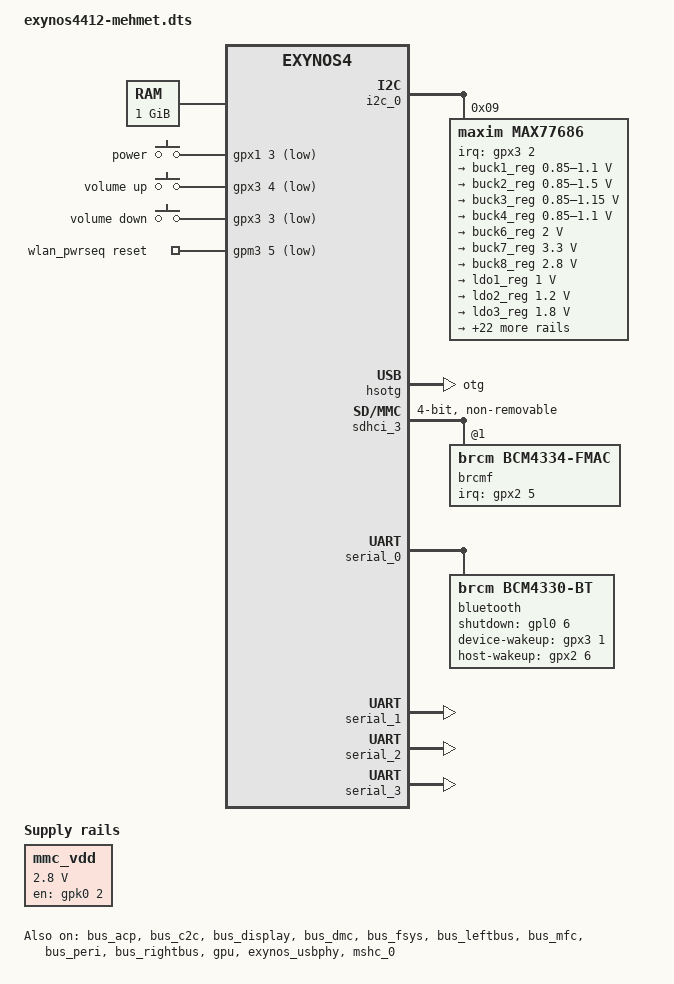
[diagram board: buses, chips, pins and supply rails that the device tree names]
// SPDX-License-Identifier: GPL-2.0
/*
 * Samsung's Exynos4212 based Galaxy Tab 3 board common source
 *
 * Copyright (c) 2013 Samsung Electronics Co., Ltd.
 *		http://www.samsung.com
 */

/dts-v1/;
#include "exynos4412.dtsi"
#include "exynos4412-ppmu-common.dtsi"
#include "exynos-mfc-reserved-memory.dtsi"
#include <dt-bindings/gpio/gpio.h>
#include <dt-bindings/leds/common.h>
#include <dt-bindings/input/gpio-keys.h>
#include <dt-bindings/input/input.h>
#include <dt-bindings/interrupt-controller/irq.h>
#include "exynos-pinctrl.h"
#include <dt-bindings/clock/maxim,max77686.h>

/ {
	compatible = "gm,mehmet", "samsung,exynos4412", "samsung,exynos4";

	memory@40000000 {
		device_type = "memory";

		reg = <0x40000000 0x40000000>;
	};

	aliases	{
		/* E-Tab 4 doesn't have an sd card slot, so we're leaving sdhci2 out. */

		mmc0 = &mshc_0; 	/* Internal storage */
		mmc1 = &sdhci_3;	/* WiFi */
	};

	chosen {
		stdout-path = &serial_2;
	};

	fixed-rate-clocks {
		xxti {
			compatible = "samsung,clock-xxti";
			clock-frequency = <0>;
		};

		xusbxti	{
			compatible = "samsung,clock-xusbxti";
			clock-frequency = <24000000>;
		};
	};

	gpio-keys {
		compatible = "gpio-keys";
		pinctrl-names = "default";
		pinctrl-0 = <&gpio_keys>;

		key-power {
			gpios = <&gpx1 3 GPIO_ACTIVE_LOW>;
			linux,code = <KEY_POWER>;
			label = "power";
			debounce-interval = <10>;
			wakeup-source;
		};

		key-up {
			gpios = <&gpx3 4 GPIO_ACTIVE_LOW>;
			linux,code = <KEY_VOLUMEUP>;
			label = "volume up";
			debounce-interval = <10>;
		};

		key-down {
			gpios = <&gpx3 3 GPIO_ACTIVE_LOW>;
			linux,code = <KEY_VOLUMEDOWN>;
			label = "volume down";
			debounce-interval = <10>;
		};
	};

	wlan_pwrseq: sdhci3-pwrseq {
		compatible = "mmc-pwrseq-simple";
		reset-gpios = <&gpm3 5 GPIO_ACTIVE_LOW>;
		clocks = <&max77686 MAX77686_CLK_PMIC>;
		clock-names = "ext_clock";
	};

	mmc_vdd: voltage-regulator-1 {
		compatible = "regulator-fixed";
		regulator-name = "VMEM_VDD_2.8V";
		regulator-min-microvolt = <2800000>;
		regulator-max-microvolt = <2800000>;
		pinctrl-names = "default";
		pinctrl-0 = <&mmc_vdd_en>;

		gpio = <&gpk0 2 GPIO_ACTIVE_HIGH>;
		enable-active-high;
	};

};

&i2c_0 {
	samsung,i2c-sda-delay = <100>;
	samsung,i2c-slave-addr = <0x10>;
	samsung,i2c-max-bus-freq = <400000>;
	pinctrl-0 = <&i2c0_bus>;
	pinctrl-names = "default";
	status = "okay";

	max77686: pmic@9 {
		compatible = "maxim,max77686";
		reg = <0x09>;
		interrupt-parent = <&gpx3>;
		interrupts = <2 IRQ_TYPE_LEVEL_LOW>;
		pinctrl-names = "default";
		pinctrl-0 = <&max77686_irq>;
		wakeup-source;
		#clock-cells = <1>;

		voltage-regulators {
			buck1_reg: BUCK1 {
				regulator-name = "VDD_MIF";
				regulator-min-microvolt = <850000>;
				regulator-max-microvolt = <1100000>;
				regulator-always-on;
				regulator-boot-on;
			};
				
			buck2_reg: BUCK2 {
				regulator-name = "VDD_ARM";
				regulator-min-microvolt = <850000>;
				regulator-max-microvolt = <1500000>;
				regulator-always-on;
				regulator-boot-on;
			};

			buck3_reg: BUCK3 {
				regulator-name = "VDD_INT";
				regulator-min-microvolt = <850000>;
				regulator-max-microvolt = <1150000>;
				regulator-always-on;
				regulator-boot-on;
			};

			buck4_reg: BUCK4 {
				regulator-name = "VDD_G3D";
				regulator-min-microvolt = <850000>;
				regulator-max-microvolt = <1100000>;
				regulator-boot-on;
			};

			buck6_reg: BUCK6 {
				regulator-name = "VDD_BUCK6";
				regulator-min-microvolt = <2000000>;
				regulator-max-microvolt = <2000000>;
				regulator-boot-on;
			};

			buck7_reg: BUCK7 {
				regulator-name = "VDD_IN235";
				regulator-min-microvolt = <3300000>;
				regulator-max-microvolt = <3300000>;
				regulator-boot-on;
			};

			buck8_reg: BUCK8 {
				regulator-name = "VDD_EMMC_2V8";
				regulator-min-microvolt = <2800000>;
				regulator-max-microvolt = <2800000>;
				regulator-boot-on;
			};

			ldo1_reg: LDO1 {
				regulator-name = "VDD_ALIVE";
				regulator-min-microvolt = <1000000>;
				regulator-max-microvolt = <1000000>;
				regulator-always-on;
				regulator-boot-on;
			};

			ldo2_reg: LDO2 {
				regulator-name = "VDD_M12";
				regulator-min-microvolt = <1200000>;
				regulator-max-microvolt = <1200000>;
				regulator-boot-on;
			};

			ldo3_reg: LDO3 {
				regulator-name = "VDD_BT_WIFI_IO";
				regulator-min-microvolt = <1800000>;
				regulator-max-microvolt = <1800000>;
				regulator-always-on;
				regulator-boot-on;
			};

			ldo4_reg: LDO4 {
				regulator-name = "VDD_MMC012";
				regulator-min-microvolt = <1200000>;
				regulator-max-microvolt = <2800000>;
				regulator-boot-on;
			};

			ldo5_reg: LDO5 { 
				regulator-name = "VDD_CAM_IO";
				regulator-min-microvolt = <1800000>;
				regulator-max-microvolt = <1900000>;
			};

			ldo6_reg: LDO6 { 
				regulator-name = "VDD_TSP_1V8";
				regulator-min-microvolt = <1800000>;
				regulator-max-microvolt = <1800000>;
			};

			ldo7_reg: LDO7 {
				regulator-name = "VDD_PLL";
				regulator-min-microvolt = <1100000>;
				regulator-max-microvolt = <1100000>;
				regulator-boot-on;
			};

			ldo8_reg: LDO8 {
				regulator-name = "VDD_MIPI_1V0";
				regulator-min-microvolt = <1000000>;
				regulator-max-microvolt = <1000000>;
				regulator-boot-on;
			};

			ldo9_reg: LDO9 {
				regulator-name = "VDD_GPS_1V8";
				regulator-min-microvolt = <1800000>;
				regulator-max-microvolt = <1800000>;
			};

			ldo10_reg: LDO10 {
				regulator-name = "VDD_MIPI_1V8";
				regulator-min-microvolt = <1800000>;
				regulator-max-microvolt = <1800000>;
				regulator-boot-on;
			};

			ldo11_reg: LDO11 {
				regulator-name = "VDD_ABB_1V8";
				regulator-min-microvolt = <1950000>;
				regulator-max-microvolt = <1950000>;
                        	regulator-boot-on;
			};

			ldo12_reg: LDO12 {
				regulator-name = "VDD_UOTG_3V3";
				regulator-min-microvolt = <3300000>;
				regulator-max-microvolt = <3300000>;
				regulator-boot-on;
			};

			ldo13_reg: LDO13 {
				regulator-name = "VDD_C2C";
				regulator-min-microvolt = <1800000>;
				regulator-max-microvolt = <1800000>;
				regulator-boot-on;
			};

			ldo14_reg: LDO14 {
				regulator-name = "VDD_MMC01_1V8";
				regulator-min-microvolt = <1800000>;
				regulator-max-microvolt = <1800000>;
				regulator-boot-on;
			};

			ldo15_reg: LDO15 {
				regulator-name = "VDD_UOTG_1V0";
				regulator-min-microvolt = <1000000>;
				regulator-max-microvolt = <1000000>;
				regulator-boot-on;
			};

			ldo16_reg: LDO16 {
                		regulator-name = "VDD_HSIC";
				regulator-min-microvolt = <1800000>;
				regulator-max-microvolt = <1800000>;
				regulator-boot-on;
			};

			ldo17_reg: LDO17 {
				regulator-name = "VDD_CAM";
				regulator-min-microvolt = <2800000>;
				regulator-max-microvolt = <2900000>;
			};

			ldo18_reg: LDO18 {
				regulator-name = "VDD_GPS_2V8";
				regulator-min-microvolt = <2800000>;
				regulator-max-microvolt = <2800000>;
			};

			ldo20_reg: LDO20 {
				regulator-name = "VDD_MMC_1V8";
				regulator-min-microvolt = <1800000>;
				regulator-max-microvolt = <1800000>;
				regulator-boot-on;
			};

			ldo21_reg: LDO21 {
				regulator-name = "VDD_CAM_CORE";
				regulator-min-microvolt = <1800000>;
				regulator-max-microvolt = <1900000>;
			};

			ldo22_reg: LDO22 {
				regulator-name = "VDD_BT_WIFI";
				regulator-min-microvolt = <3300000>;
				regulator-max-microvolt = <3300000>;
				regulator-always-on;
				regulator-boot-on;
			};

			ldo23_reg: LDO23 {
				regulator-name = "VDD_LCD";
				regulator-min-microvolt = <3300000>;
				regulator-max-microvolt = <3300000>;
				regulator-boot-on;
			};

			ldo24_reg: LDO24 {
				regulator-name = "VDD_SENSOR";
				regulator-min-microvolt = <3000000>;
				regulator-max-microvolt = <3000000>;
				regulator-boot-on;
			};

			ldo25_reg: LDO25 {
				regulator-name = "VDD_AUDIO";
				regulator-min-microvolt = <3300000>;
				regulator-max-microvolt = <3300000>;
				regulator-boot-on;
			};

			ldo26_reg: LDO26 {
				regulator-name = "VDD_TSP";
				regulator-min-microvolt = <3000000>;
				regulator-max-microvolt = <3300000>;
			};
		};
	};
};

&bus_acp {
	devfreq = <&bus_dmc>;
	status = "okay";
};

&bus_c2c {
	devfreq = <&bus_dmc>;
	status = "okay";
};

&bus_display {
	devfreq = <&bus_leftbus>;
	status = "okay";
};

&bus_dmc {
	devfreq-events = <&ppmu_dmc0_3>, <&ppmu_dmc1_3>;
	vdd-supply = <&buck1_reg>;
	status = "okay";
};

&bus_fsys {
	devfreq = <&bus_leftbus>;
	status = "okay";
};

&bus_leftbus {
	devfreq-events = <&ppmu_leftbus_3>, <&ppmu_rightbus_3>;
	vdd-supply = <&buck3_reg>;
	status = "okay";
};

&bus_mfc {
	devfreq = <&bus_leftbus>;
	status = "okay";
};

&bus_peri {
	devfreq = <&bus_leftbus>;
	status = "okay";
};

&bus_rightbus {
	devfreq = <&bus_leftbus>;
	status = "okay";
};

&cpu0 {
	cpu0-supply = <&buck2_reg>;
};

/* &fimd {
	status = "okay";
};	*/

&gpu {
	mali-supply = <&buck4_reg>;
	status = "okay";
};

&hsotg {
	vusb_d-supply = <&ldo15_reg>;
	vusb_a-supply = <&ldo12_reg>;
	dr_mode = "otg";
	status = "okay";
};

&exynos_usbphy {
	status = "okay";
};

&mshc_0 {
	broken-cd;
	non-removable;
	card-detect-delay = <200>;
	vmmc-supply = <&mmc_vdd>;	
	clock-frequency = <400000000>;
	samsung,dw-mshc-ciu-div = <0>;
	samsung,dw-mshc-sdr-timing = <2 3>;
	samsung,dw-mshc-ddr-timing = <1 2>;
	pinctrl-0 = <&sd4_clk &sd4_cmd &sd4_bus4 &sd4_bus8>;
	pinctrl-names = "default";
	bus-width = <8>;
	cap-mmc-highspeed;
	mmc-ddr-1_8v;
	status = "okay";
};

&pinctrl_0 {
	pinctrl-names = "default";
	pinctrl-0 = <&sleep0>;

/*	lcd_en: lcd-en-pins {
		samsung,pins = "gpc0-1";
		samsung,pin-function = <EXYNOS_PIN_FUNC_OUTPUT>;
		samsung,pin-pud = <EXYNOS_PIN_PULL_NONE>;
	};	

	lcd_nrst: lcd-nrst-pins {
		samsung,pins = "gpf0-4";
		samsung,pin-function = <EXYNOS_PIN_FUNC_OUTPUT>;
		samsung,pin-pud = <EXYNOS_PIN_PULL_NONE>;
	};	*/

/*	sleep0: sleep-state {
		PIN_SLP(gpa0-0, INPUT, NONE);
		PIN_SLP(gpa0-1, OUT0, NONE);
		PIN_SLP(gpa0-2, INPUT, NONE);
		PIN_SLP(gpa0-3, INPUT, UP);
		PIN_SLP(gpa0-4, INPUT, DOWN);
		PIN_SLP(gpa0-5, INPUT, DOWN);
		PIN_SLP(gpa0-6, INPUT, DOWN);
		PIN_SLP(gpa0-7, INPUT, DOWN);

		PIN_SLP(gpa1-0, INPUT, DOWN);
		PIN_SLP(gpa1-1, INPUT, DOWN);
		PIN_SLP(gpa1-2, INPUT, DOWN);
		PIN_SLP(gpa1-3, INPUT, DOWN);
		PIN_SLP(gpa1-4, INPUT, DOWN);
		PIN_SLP(gpa1-5, INPUT, DOWN);

		PIN_SLP(gpb-0, INPUT, NONE);
		PIN_SLP(gpb-1, INPUT, NONE);
		PIN_SLP(gpb-2, INPUT, NONE);
		PIN_SLP(gpb-3, INPUT, NONE);
		PIN_SLP(gpb-4, INPUT, DOWN);
		PIN_SLP(gpb-5, INPUT, DOWN);
		PIN_SLP(gpb-6, INPUT, DOWN);
		PIN_SLP(gpb-7, INPUT, DOWN);

		PIN_SLP(gpc0-0, INPUT, DOWN);
		PIN_SLP(gpc0-1, INPUT, DOWN);
		PIN_SLP(gpc0-2, INPUT, NONE);
		PIN_SLP(gpc0-3, INPUT, NONE);
		PIN_SLP(gpc0-4, INPUT, NONE);

		PIN_SLP(gpc1-0, INPUT, DOWN);
		PIN_SLP(gpc1-1, INPUT, DOWN);
		PIN_SLP(gpc1-2, INPUT, DOWN);
		PIN_SLP(gpc1-3, INPUT, DOWN);
		PIN_SLP(gpc1-4, INPUT, DOWN);

		PIN_SLP(gpd0-0, INPUT, DOWN);
		PIN_SLP(gpd0-1, OUT0, NONE);
		PIN_SLP(gpd0-2, INPUT, NONE);
		PIN_SLP(gpd0-3, INPUT, NONE);

		PIN_SLP(gpd1-0, INPUT, DOWN);
		PIN_SLP(gpd1-1, INPUT, DOWN);
		PIN_SLP(gpd1-2, INPUT, NONE);
		PIN_SLP(gpd1-3, INPUT, NONE);

		PIN_SLP(gpf0-0, INPUT, DOWN);
		PIN_SLP(gpf0-1, INPUT, DOWN);
		PIN_SLP(gpf0-2, INPUT, DOWN);
		PIN_SLP(gpf0-3, INPUT, DOWN);
		PIN_SLP(gpf0-4, OUT0, NONE);
		PIN_SLP(gpf0-5, OUT0, NONE);
		PIN_SLP(gpf0-6, INPUT, DOWN);
		PIN_SLP(gpf0-7, INPUT, DOWN);

		PIN_SLP(gpf1-0, INPUT, DOWN);
		PIN_SLP(gpf1-1, INPUT, DOWN);
		PIN_SLP(gpf1-2, INPUT, DOWN);
		PIN_SLP(gpf1-3, INPUT, DOWN);
		PIN_SLP(gpf1-4, INPUT, DOWN);
		PIN_SLP(gpf1-5, INPUT, DOWN);
		PIN_SLP(gpf1-6, INPUT, DOWN);
		PIN_SLP(gpf1-7, INPUT, DOWN);

		PIN_SLP(gpf2-0, INPUT, DOWN);
		PIN_SLP(gpf2-1, INPUT, DOWN);
		PIN_SLP(gpf2-2, INPUT, DOWN);
		PIN_SLP(gpf2-3, INPUT, DOWN);
		PIN_SLP(gpf2-4, INPUT, DOWN);
		PIN_SLP(gpf2-5, INPUT, DOWN);
		PIN_SLP(gpf2-6, INPUT, DOWN);
		PIN_SLP(gpf2-7, INPUT, DOWN);

		PIN_SLP(gpf3-0, INPUT, DOWN);
		PIN_SLP(gpf3-1, INPUT, DOWN);
		PIN_SLP(gpf3-2, INPUT, DOWN);
		PIN_SLP(gpf3-3, INPUT, DOWN);
		PIN_SLP(gpf3-4, PREV, NONE);
		PIN_SLP(gpf3-5, OUT0, DOWN);

		PIN_SLP(gpj0-0, INPUT, DOWN);
		PIN_SLP(gpj0-1, INPUT, DOWN);
		PIN_SLP(gpj0-2, INPUT, DOWN);
		PIN_SLP(gpj0-3, OUT0, NONE);
		PIN_SLP(gpj0-4, INPUT, DOWN);
		PIN_SLP(gpj0-5, INPUT, DOWN);
		PIN_SLP(gpj0-6, OUT0, NONE);
		PIN_SLP(gpj0-7, OUT0, NONE);

		PIN_SLP(gpj1-0, OUT0, NONE);
		PIN_SLP(gpj1-1, INPUT, DOWN);
		PIN_SLP(gpj1-2, PREV, NONE);
		PIN_SLP(gpj1-3, INPUT, DOWN);
		PIN_SLP(gpj1-4, INPUT, DOWN);
	}; */
};

&pinctrl_1 {
	pinctrl-names = "default";
	pinctrl-0 = <&sleep1>;

	bt_shutdown: bt-shutdown-pins {
		samsung,pins = "gpl0-6";
		samsung,pin-pud = <EXYNOS_PIN_PULL_NONE>;
	};

	bt_host_wakeup: bt-host-wakeup-pins {
		samsung,pins = "gpx2-6";
		samsung,pin-pud = <EXYNOS_PIN_PULL_NONE>;
	};

	bt_device_wakeup: bt-device-wakeup-pins {
		samsung,pins = "gpx3-1";
		samsung,pin-pud = <EXYNOS_PIN_PULL_NONE>;
	};

/*	backlight_reset: backlight-reset-pins {
		samsung,pins = "gpm0-1";
		samsung,pin-function = <EXYNOS_PIN_FUNC_OUTPUT>;
		samsung,pin-pud = <EXYNOS_PIN_PULL_NONE>;
	};	*/

	gpio_keys: gpio-keys-pins {
		samsung,pins = "gpx1-3", "gpx3-3", "gpx3-4";
		samsung,pin-pud = <EXYNOS_PIN_PULL_NONE>;
	};

	max77686_irq: max77686-irq-pins {
		samsung,pins = "gpx3-2";
		samsung,pin-pud = <EXYNOS_PIN_PULL_NONE>;
	};

/*	mmc_vdd_en: mmc_vdd_pins {
                samsung,pins = "gpk0-2";
                samsung,pin-function = <EXYNOS_PIN_FUNC_OUTPUT>;
                samsung,pin-pud = <EXYNOS_PIN_PULL_NONE>;
        };	*/

/*	sleep1: sleep-state {
		PIN_SLP(gpk0-0, PREV, NONE);
		PIN_SLP(gpk0-1, PREV, NONE);
		PIN_SLP(gpk0-2, PREV, NONE);
		PIN_SLP(gpk0-3, PREV, NONE);
		PIN_SLP(gpk0-4, PREV, NONE);
		PIN_SLP(gpk0-5, PREV, NONE);
		PIN_SLP(gpk0-6, PREV, NONE);

		PIN_SLP(gpk1-0, INPUT, DOWN);
		PIN_SLP(gpk1-1, INPUT, DOWN);
		PIN_SLP(gpk1-2, INPUT, DOWN);
		PIN_SLP(gpk1-3, PREV, NONE);
		PIN_SLP(gpk1-4, PREV, NONE);
		PIN_SLP(gpk1-5, PREV, NONE);
		PIN_SLP(gpk1-6, PREV, NONE);

		PIN_SLP(gpk2-0, INPUT, DOWN);
		PIN_SLP(gpk2-1, INPUT, DOWN);
		PIN_SLP(gpk2-2, INPUT, DOWN);
		PIN_SLP(gpk2-3, INPUT, DOWN);
		PIN_SLP(gpk2-4, INPUT, DOWN);
		PIN_SLP(gpk2-5, INPUT, DOWN);
		PIN_SLP(gpk2-6, INPUT, DOWN);

		PIN_SLP(gpk3-0, OUT0, NONE);
		PIN_SLP(gpk3-1, INPUT, NONE);
		PIN_SLP(gpk3-2, INPUT, DOWN);
		PIN_SLP(gpk3-3, INPUT, NONE);
		PIN_SLP(gpk3-4, INPUT, NONE);
		PIN_SLP(gpk3-5, INPUT, NONE);
		PIN_SLP(gpk3-6, INPUT, NONE);

		PIN_SLP(gpl0-0, INPUT, DOWN);
		PIN_SLP(gpl0-1, INPUT, NONE);
		PIN_SLP(gpl0-2, INPUT, NONE);
		PIN_SLP(gpl0-3, INPUT, DOWN);
		PIN_SLP(gpl0-4, INPUT, DOWN);
		PIN_SLP(gpl0-6, PREV, NONE);

		PIN_SLP(gpl1-0, INPUT, DOWN);
		PIN_SLP(gpl1-1, OUT0, NONE);
		PIN_SLP(gpl2-0, INPUT, DOWN);
		PIN_SLP(gpl2-1, PREV, NONE);
		PIN_SLP(gpl2-2, PREV, NONE);
		PIN_SLP(gpl2-3, INPUT, DOWN);
		PIN_SLP(gpl2-4, INPUT, DOWN);
		PIN_SLP(gpl2-5, INPUT, DOWN);
		PIN_SLP(gpl2-6, INPUT, DOWN);
		PIN_SLP(gpl2-7, INPUT, DOWN);

		PIN_SLP(gpm0-0, PREV, NONE);
		PIN_SLP(gpm0-1, OUT0, NONE);
		PIN_SLP(gpm0-2, INPUT, DOWN);
		PIN_SLP(gpm0-3, INPUT, DOWN);
		PIN_SLP(gpm0-4, INPUT, DOWN);
		PIN_SLP(gpm0-5, INPUT, DOWN);
		PIN_SLP(gpm0-6, INPUT, DOWN);
		PIN_SLP(gpm0-7, INPUT, DOWN);

		PIN_SLP(gpm1-0, INPUT, DOWN);
		PIN_SLP(gpm1-1, INPUT, DOWN);
		PIN_SLP(gpm1-2, INPUT, NONE);
		PIN_SLP(gpm1-3, INPUT, NONE);
		PIN_SLP(gpm1-4, INPUT, NONE);
		PIN_SLP(gpm1-5, INPUT, NONE);
		PIN_SLP(gpm1-6, OUT0, NONE);

		PIN_SLP(gpm2-0, INPUT, NONE);
		PIN_SLP(gpm2-1, INPUT, NONE);
		PIN_SLP(gpm2-2, OUT0, NONE);
		PIN_SLP(gpm2-3, INPUT, DOWN);
		PIN_SLP(gpm2-4, INPUT, DOWN);

		PIN_SLP(gpm3-0, PREV, NONE);
		PIN_SLP(gpm3-1, PREV, NONE);
		PIN_SLP(gpm3-2, PREV, NONE);
		PIN_SLP(gpm3-3, INPUT, DOWN);
		PIN_SLP(gpm3-4, INPUT, DOWN);
		PIN_SLP(gpm3-5, PREV, NONE);
		PIN_SLP(gpm3-6, INPUT, DOWN);
		PIN_SLP(gpm3-7, OUT0, NONE);

		PIN_SLP(gpm4-0, INPUT, DOWN);
		PIN_SLP(gpm4-1, INPUT, DOWN);
		PIN_SLP(gpm4-2, INPUT, DOWN);
		PIN_SLP(gpm4-3, INPUT, DOWN);
		PIN_SLP(gpm4-4, PREV, NONE);
		PIN_SLP(gpm4-5, INPUT, NONE);
		PIN_SLP(gpm4-6, INPUT, DOWN);
		PIN_SLP(gpm4-7, INPUT, DOWN);

		PIN_SLP(gpy0-0, INPUT, DOWN);
		PIN_SLP(gpy0-1, INPUT, DOWN);
		PIN_SLP(gpy0-2, INPUT, NONE);
		PIN_SLP(gpy0-3, INPUT, NONE);
		PIN_SLP(gpy0-4, INPUT, DOWN);
		PIN_SLP(gpy0-5, INPUT, DOWN);

		PIN_SLP(gpy1-0, INPUT, DOWN);
		PIN_SLP(gpy1-1, INPUT, DOWN);
		PIN_SLP(gpy1-2, INPUT, DOWN);
		PIN_SLP(gpy1-3, INPUT, DOWN);

		PIN_SLP(gpy2-0, PREV, NONE);
		PIN_SLP(gpy2-1, INPUT, DOWN);
		PIN_SLP(gpy2-2, INPUT, NONE);
		PIN_SLP(gpy2-3, INPUT, NONE);
		PIN_SLP(gpy2-4, INPUT, NONE);
		PIN_SLP(gpy2-5, INPUT, NONE);

		PIN_SLP(gpy3-0, INPUT, DOWN);
		PIN_SLP(gpy3-1, INPUT, DOWN);
		PIN_SLP(gpy3-2, INPUT, DOWN);
		PIN_SLP(gpy3-3, INPUT, DOWN);
		PIN_SLP(gpy3-4, INPUT, DOWN);
		PIN_SLP(gpy3-5, INPUT, DOWN);
		PIN_SLP(gpy3-6, INPUT, DOWN);
		PIN_SLP(gpy3-7, INPUT, DOWN);

		PIN_SLP(gpy4-0, INPUT, DOWN);
		PIN_SLP(gpy4-1, INPUT, DOWN);
		PIN_SLP(gpy4-2, INPUT, DOWN);
		PIN_SLP(gpy4-3, INPUT, DOWN);
		PIN_SLP(gpy4-4, INPUT, DOWN);
		PIN_SLP(gpy4-5, INPUT, DOWN);
		PIN_SLP(gpy4-6, INPUT, DOWN);
		PIN_SLP(gpy4-7, INPUT, DOWN);

		PIN_SLP(gpy5-0, INPUT, DOWN);
		PIN_SLP(gpy5-1, INPUT, DOWN);
		PIN_SLP(gpy5-2, INPUT, DOWN);
		PIN_SLP(gpy5-3, INPUT, DOWN);
		PIN_SLP(gpy5-4, INPUT, DOWN);
		PIN_SLP(gpy5-5, INPUT, DOWN);
		PIN_SLP(gpy5-6, INPUT, DOWN);
		PIN_SLP(gpy5-7, INPUT, DOWN);

		PIN_SLP(gpy6-0, INPUT, DOWN);
		PIN_SLP(gpy6-1, INPUT, DOWN);
		PIN_SLP(gpy6-2, INPUT, DOWN);
		PIN_SLP(gpy6-3, INPUT, DOWN);
		PIN_SLP(gpy6-4, INPUT, DOWN);
		PIN_SLP(gpy6-5, INPUT, DOWN);
		PIN_SLP(gpy6-6, INPUT, DOWN);
		PIN_SLP(gpy6-7, INPUT, DOWN);
	};	*/
};

/* &pinctrl_2 {
	pinctrl-names = "default";
	pinctrl-0 = <&sleep2>;

	sleep2: sleep-state {
		PIN_SLP(gpz-0, INPUT, DOWN);
		PIN_SLP(gpz-1, INPUT, DOWN);
		PIN_SLP(gpz-2, INPUT, DOWN);
		PIN_SLP(gpz-3, INPUT, DOWN);
		PIN_SLP(gpz-4, INPUT, DOWN);
		PIN_SLP(gpz-5, INPUT, DOWN);
		PIN_SLP(gpz-6, INPUT, DOWN);
	};
};	*/

/* &pinctrl_3 {
	pinctrl-names = "default";
	pinctrl-0 = <&sleep3>;

	sleep3: sleep-state {
		PIN_SLP(gpv0-0, INPUT, DOWN);
		PIN_SLP(gpv0-1, INPUT, DOWN);
		PIN_SLP(gpv0-2, INPUT, DOWN);
		PIN_SLP(gpv0-3, INPUT, DOWN);
		PIN_SLP(gpv0-4, INPUT, DOWN);
		PIN_SLP(gpv0-5, INPUT, DOWN);
		PIN_SLP(gpv0-6, INPUT, DOWN);
		PIN_SLP(gpv0-7, INPUT, DOWN);

		PIN_SLP(gpv1-0, INPUT, DOWN);
		PIN_SLP(gpv1-1, INPUT, DOWN);
		PIN_SLP(gpv1-2, INPUT, DOWN);
		PIN_SLP(gpv1-3, INPUT, DOWN);
		PIN_SLP(gpv1-4, INPUT, DOWN);
		PIN_SLP(gpv1-5, INPUT, DOWN);
		PIN_SLP(gpv1-6, INPUT, DOWN);
		PIN_SLP(gpv1-7, INPUT, DOWN);

		PIN_SLP(gpv2-0, INPUT, DOWN);
		PIN_SLP(gpv2-1, INPUT, DOWN);
		PIN_SLP(gpv2-2, INPUT, DOWN);
		PIN_SLP(gpv2-3, INPUT, DOWN);
		PIN_SLP(gpv2-4, INPUT, DOWN);
		PIN_SLP(gpv2-5, INPUT, DOWN);
		PIN_SLP(gpv2-6, INPUT, DOWN);
		PIN_SLP(gpv2-7, INPUT, DOWN);

		PIN_SLP(gpv3-0, INPUT, DOWN);
		PIN_SLP(gpv3-1, INPUT, DOWN);
		PIN_SLP(gpv3-2, INPUT, DOWN);
		PIN_SLP(gpv3-3, INPUT, DOWN);
		PIN_SLP(gpv3-4, INPUT, DOWN);
		PIN_SLP(gpv3-5, INPUT, DOWN);
		PIN_SLP(gpv3-6, INPUT, DOWN);
		PIN_SLP(gpv3-7, INPUT, DOWN);

		PIN_SLP(gpv4-0, INPUT, DOWN);
		PIN_SLP(gpv4-1, INPUT, DOWN);
	};
};	*/




&pmu_system_controller {
	assigned-clocks = <&pmu_system_controller 0>;
	assigned-clock-parents = <&clock CLK_XUSBXTI>;
};

&sdhci_3 {
	#address-cells = <1>;
	#size-cells = <0>;
	non-removable;
	bus-width = <4>;

	mmc-pwrseq = <&wlan_pwrseq>;
	pinctrl-names = "default";
	pinctrl-0 = <&sd3_clk &sd3_cmd &sd3_bus4>;
	status = "okay";

	brcmf: wifi@1 {
		compatible = "brcm,bcm4334-fmac", "brcm,bcm4329-fmac";
		reg = <1>;

		interrupt-parent = <&gpx2>;
		interrupts = <5 IRQ_TYPE_LEVEL_HIGH>;
		interrupt-names = "host-wake";
	};
};

&serial_0 {
	pinctrl-0 = <&uart0_data &uart0_fctl>;
	pinctrl-names = "default";
	status = "okay";

	bluetooth {
		compatible = "brcm,bcm4330-bt"; /* BCM4334B0 */
		pinctrl-0 = <&bt_shutdown &bt_device_wakeup &bt_host_wakeup>;
		pinctrl-names = "default";
		max-speed = <3000000>;
		shutdown-gpios = <&gpl0 6 GPIO_ACTIVE_HIGH>;
		device-wakeup-gpios = <&gpx3 1 GPIO_ACTIVE_HIGH>;
		host-wakeup-gpios = <&gpx2 6 GPIO_ACTIVE_HIGH>;
		clocks = <&max77686 MAX77686_CLK_PMIC>;
		clock-names = "lpo";
	};
};

&serial_1 {
	status = "okay";
};

&serial_2 {
	status = "okay";
};

&serial_3 {
	status = "okay";
};
